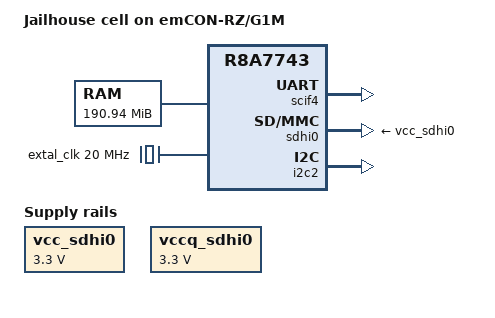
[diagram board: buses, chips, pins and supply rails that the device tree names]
/*
 * Jailhouse, a Linux-based partitioning hypervisor
 *
 * Device tree for Linux inmate test on emCON-RZ/G1M board,
 * corresponds to configs/emtrion-emconrzg1m-linux-demo.c
 *
 * Copyright (c) emtrion GmbH, 2017
 *
 * Authors:
 *  Jan von Wiarda <jan.vonwiarda@emtrion.de>
 *
 * This work is licensed under the terms of the GNU GPL, version 2.  See
 * the COPYING file in the top-level directory.
 */

#include <dt-bindings/interrupt-controller/arm-gic.h>
#include <dt-bindings/clock/r8a7743-clock.h>
#include <dt-bindings/power/r8a7743-sysc.h>

/dts-v1/;

/memreserve/ 0x0000000070000000 0x0000000000002000;
/ {
	model = "Jailhouse cell on emCON-RZ/G1M";
	compatible = "emtrion,emconrzg1m", "renesas,r8a7743";

	#address-cells = <2>;
	#size-cells = <2>;

	interrupt-parent = <&gic>;

	aliases {
		i2c2 = "/i2c@e6530000";
		serial6 = "/serial@e6ee0000";
	};

	cpus {
		#address-cells = <1>;
		#size-cells = <0>;

		cpu@0 {
			enable-method = "psci";
			device_type = "cpu";
			compatible = "arm,cortex-a15";
			reg = <0x0>;
			clock-frequency = <0x59682f00>;
			voltage-tolerance = <0x1>;
			clocks = <0x2 0x8>;
			clock-latency = <0x493e0>;
			power-domains = <0x3 0x0>;
			operating-points = <0x16e360 0xf4240 0x1406f4 0xf4240
					    0x112a88 0xf4240 0xe4e1c 0xf4240
					    0xb71b0 0xf4240 0x5b8d8 0xf4240>;
		};
	};

	memory@70000000 {
		device_type = "memory";
		reg = <0x0 0x70000000 0x0 0x0bef0000>;
	};

	chosen {
		bootargs = "console=ttySC6,115200 root=/dev/sda1 rootwait
			    ip=dhcp loglevel=8 vt.global_cursor_default=0
			    consoleblank=0";
		stdout-path = "/serial@e6ee0000";
	};

	timer {
		compatible = "arm,armv7-timer";
		interrupts = <GIC_PPI 13
				(GIC_CPU_MASK_SIMPLE(4) | IRQ_TYPE_LEVEL_LOW)>,
			     <GIC_PPI 14
				(GIC_CPU_MASK_SIMPLE(4) | IRQ_TYPE_LEVEL_LOW)>,
			     <GIC_PPI 11
				(GIC_CPU_MASK_SIMPLE(4) | IRQ_TYPE_LEVEL_LOW)>,
			     <GIC_PPI 10
				(GIC_CPU_MASK_SIMPLE(4) | IRQ_TYPE_LEVEL_LOW)>;
	};

	clocks {
		#address-cells = <0x2>;
		#size-cells = <0x2>;
		ranges;

		/* External root clock */
		extal_clk: extal_clk {
			compatible = "fixed-clock";
			#clock-cells = <0>;
			clock-frequency = <20000000>;
			clock-output-names = "extal";
		};

		audio_clka {
			compatible = "fixed-clock";
			#clock-cells = <0x0>;
			clock-frequency = <0x0>;
			clock-output-names = "audio_clka";
		};
		audio_clkb {
			compatible = "fixed-clock";
			#clock-cells = <0x0>;
			clock-frequency = <0x0>;
			clock-output-names = "audio_clkb";
		};
		audio_clkc {
			compatible = "fixed-clock";
			#clock-cells = <0x0>;
			clock-frequency = <0x0>;
			clock-output-names = "audio_clkc";
		};

		/* Special CPG clocks */
		cpg_clocks: cpg_clocks@e6150000 {
			compatible = "renesas,r8a7743-cpg-clocks",
				     "renesas,rcar-gen2-cpg-clocks";
			reg = <0 0xe6150000 0 0x1000>;
			clocks = <&extal_clk>;
			#clock-cells = <1>;
			clock-output-names = "main", "pll0", "pll1", "pll3",
					     "lb", "qspi", "sdh", "sd0";
			#power-domain-cells = <0>;
		};

		/* Variable factor clocks */
		sd2_clk: sd2_clk@e6150078 {
			compatible = "renesas,r8a7743-div6-clock",
				     "renesas,cpg-div6-clock";
			reg = <0x0 0xe6150078 0x0 0x4>;
			clocks = <0x3>;
			#clock-cells = <0x0>;
			clock-output-names = "sd2";
		};
		sd3_clk: sd3_clk@e615026c {
			compatible = "renesas,r8a7743-div6-clock",
				     "renesas,cpg-div6-clock";
			reg = <0x0 0xe615026c 0x0 0x4>;
			clocks = <0x3>;
			#clock-cells = <0x0>;
			clock-output-names = "sd3";
		};
		mmc0_clk: mmc0_clk@e6150240 {
			compatible = "renesas,r8a7743-div6-clock",
				     "renesas,cpg-div6-clock";
			reg = <0x0 0xe6150240 0x0 0x4>;
			clocks = <0x3>;
			#clock-cells = <0x0>;
			clock-output-names = "mmc0";
		};

		/* Fixed factor clocks */
		pll1_div2_clk: pll1_div2_clk {
			compatible = "fixed-factor-clock";
			clocks = <&cpg_clocks R8A7743_CLK_PLL1>;
			#clock-cells = <0>;
			clock-div = <2>;
			clock-mult = <1>;
			clock-output-names = "pll1_div2";
		};

		z2: z2 {
			compatible = "fixed-factor-clock";
			clocks = <&cpg_clocks R8A7743_CLK_PLL0>;
			#clock-cells = <0>;
			clock-div = <3>;
			clock-mult = <1>;
			clock-output-names = "z2";
		};

		zg_clk: zg_clk {
			compatible = "fixed-factor-clock";
			clocks = <&cpg_clocks R8A7743_CLK_PLL1>;
			#clock-cells = <0>;
			clock-div = <6>;
			clock-mult = <1>;
			clock-output-names = "zg";
		};

		zx_clk: zx_clk {
			compatible = "fixed-factor-clock";
			clocks = <&cpg_clocks R8A7743_CLK_PLL1>;
			#clock-cells = <0>;
			clock-div = <3>;
			clock-mult = <1>;
			clock-output-names = "zx";
		};

		zs_clk: zs_clk {
			compatible = "fixed-factor-clock";
			clocks = <&cpg_clocks R8A7743_CLK_PLL1>;
			#clock-cells = <0>;
			clock-div = <6>;
			clock-mult = <1>;
			clock-output-names = "zs";
		};

		/* Fixed factor clocks */
		hp_clk: hp_clk {
			compatible = "fixed-factor-clock";
			clocks = <&cpg_clocks R8A7743_CLK_PLL1>;
			#clock-cells = <0>;
			clock-div = <12>;
			clock-mult = <1>;
			clock-output-names = "hp";
		};
		i_clk: i_clk {
			compatible = "fixed-factor-clock";
			clocks = <&cpg_clocks R8A7743_CLK_PLL1>;
			#clock-cells = <0>;
			clock-div = <2>;
			clock-mult = <1>;
			clock-output-names = "i";
		};
		b_clk: b_clk {
			compatible = "fixed-factor-clock";
			clocks = <&cpg_clocks R8A7743_CLK_PLL1>;
			#clock-cells = <0>;
			clock-div = <12>;
			clock-mult = <1>;
			clock-output-names = "b";
		};
		p_clk: p_clk {
			compatible = "fixed-factor-clock";
			clocks = <&cpg_clocks R8A7743_CLK_PLL1>;
			#clock-cells = <0>;
			clock-div = <24>;
			clock-mult = <1>;
			clock-output-names = "p";
		};
		cl_clk: cl_clk {
			compatible = "fixed-factor-clock";
			clocks = <&cpg_clocks R8A7743_CLK_PLL1>;
			#clock-cells = <0>;
			clock-div = <48>;
			clock-mult = <1>;
			clock-output-names = "cl";
		};
		m2_clk: m2_clk {
			compatible = "fixed-factor-clock";
			clocks = <&cpg_clocks R8A7743_CLK_PLL1>;
			#clock-cells = <0>;
			clock-div = <8>;
			clock-mult = <1>;
			clock-output-names = "m2";
		};
		imp_clk: imp_clk {
			compatible = "fixed-factor-clock";
			clocks = <&cpg_clocks R8A7743_CLK_PLL1>;
			#clock-cells = <0>;
			clock-div = <4>;
			clock-mult = <1>;
			clock-output-names = "imp";
		};
		rclk_clk: rclk_clk {
			compatible = "fixed-factor-clock";
			clocks = <&cpg_clocks R8A7743_CLK_PLL1>;
			#clock-cells = <0>;
			clock-div = <(48 * 1024)>;
			clock-mult = <1>;
			clock-output-names = "rclk";
		};
		oscclk_clk: oscclk_clk {
			compatible = "fixed-factor-clock";
			clocks = <&cpg_clocks R8A7743_CLK_PLL1>;
			#clock-cells = <0>;
			clock-div = <(12 * 1024)>;
			clock-mult = <1>;
			clock-output-names = "oscclk";
		};
		zb3_clk: zb3_clk {
			compatible = "fixed-factor-clock";
			clocks = <&cpg_clocks R8A7743_CLK_PLL1>;
			#clock-cells = <0>;
			clock-div = <4>;
			clock-mult = <1>;
			clock-output-names = "zb3";
		};
		zb3d2_clk: zb3d2_clk {
			compatible = "fixed-factor-clock";
			clocks = <&cpg_clocks R8A7743_CLK_PLL1>;
			#clock-cells = <0>;
			clock-div = <8>;
			clock-mult = <1>;
			clock-output-names = "zb3d2";
		};
		ddr_clk: ddr_clk {
			compatible = "fixed-factor-clock";
			clocks = <&cpg_clocks R8A7743_CLK_PLL1>;
			#clock-cells = <0>;
			clock-div = <8>;
			clock-mult = <1>;
			clock-output-names = "ddr";
		};
		mp_clk: mp_clk {
			compatible = "fixed-factor-clock";
			clocks = <&pll1_div2_clk>;
			#clock-cells = <0>;
			clock-div = <15>;
			clock-mult = <1>;
			clock-output-names = "mp";
		};
		cp_clk: cp_clk {
			compatible = "fixed-factor-clock";
			clocks = <&cpg_clocks R8A7743_CLK_PLL1>;
			#clock-cells = <0>;
			clock-div = <48>;
			clock-mult = <1>;
			clock-output-names = "cp";
		};
		acp_clk: acp_clk {
			compatible = "fixed-factor-clock";
			clocks = <&extal_clk>;
			#clock-cells = <0>;
			clock-div = <2>;
			clock-mult = <1>;
			clock-output-names = "acp";
		};

		/* Gate clocks */
		mstp3_clks: mstp3_clks@e615013c {
			compatible = "renesas,r8a7743-mstp-clocks",
				     "renesas,cpg-mstp-clocks";
			reg = <0 0xe615013c 0 4>, <0 0xe6150048 0 4>;
			clocks = <&cpg_clocks R8A7743_CLK_SD0>;
			#clock-cells = <1>;
			clock-indices = <R8A7743_CLK_SDHI0>;
			clock-output-names = "sdhi0";
		};

		mstp7_clks: mstp7_clks@e615014c {
			compatible = "renesas,r8a7743-mstp-clocks",
				     "renesas,cpg-mstp-clocks";
			reg = <0 0xe615014c 0 4>, <0 0xe61501c4 0 4>;
			clocks = <&p_clk>;
			#clock-cells = <1>;
			clock-indices = <R8A7743_CLK_SCIF4>;
			clock-output-names = "scif4";
		};

		mstp9_clks: mstp9_clks@e6150994 {
			compatible = "renesas,r8a7743-mstp-clocks",
				     "renesas,cpg-mstp-clocks";
			reg = <0 0xe6150994 0 4>, <0 0xe61509a4 0 4>;
			clocks = <&hp_clk>;
			#clock-cells = <1>;
			clock-indices = <R8A7743_CLK_I2C2>;
			clock-output-names = "i2c2";
		};
	};

	vcc_sdhi0: regulator@0 {
		compatible = "regulator-fixed";

		regulator-name = "SDHI0 Vcc";
		regulator-min-microvolt = <3300000>;
		regulator-max-microvolt = <3300000>;

		regulator-boot-on;
		regulator-always-on;

	};

	vccq_sdhi0: regulator@1 {
		compatible = "regulator-fixed";

		regulator-name = "SDHI0 VccQ";
		regulator-min-microvolt = <3300000>;
		regulator-max-microvolt = <3300000>;

		regulator-boot-on;
		regulator-always-on;
	};

	gic: interrupt-controller@f1001000 {
		compatible = "arm,cortex-a7-gic", "arm,cortex-a15-gic";
		reg = <0x0 0xf1001000 0x0 0x1000>,
		      <0x0 0xf1002000 0x0 0x1000>;
		interrupt-controller;
		#interrupt-cells = <3>;
	};

	sysc: system-controller@e6180000 {
		compatible = "renesas,r8a7743-sysc";
		reg = <0 0xe6180000 0 0x0200>;
		#power-domain-cells = <1>;
	};

	pfc: pin-controller@e6060000 {
		compatible = "renesas,pfc-r8a7743";
		reg = <0x0 0xe6060000 0x0 0x11c>;
		#gpio-range-cells = <0x3>;
		linux,phandle = <0x7>;
		phandle = <0x7>;

		serial6 {
			renesas,groups = "scif4_data_c";
			renesas,function = "scif4";
			linux,phandle = <0x12>;
			phandle = <0x12>;
		};

		sdhi0_pins: sd0 {
			renesas,groups = "sdhi0_data4", "sdhi0_ctrl",
					 "sdhi0_cd", "sdhi0_wp";
			renesas,function = "sdhi0";
		};
	};

	scif4: serial@e6ee0000 {
		compatible = "renesas,scif-r8a7743", "renesas,scif";
		reg = <0 0xe6ee0000 0 0x40>;
		interrupts = <0 24 IRQ_TYPE_LEVEL_HIGH>;
		clocks = <&mstp7_clks R8A7743_CLK_SCIF4>;
		clock-names = "sci_ick";
		power-domains = <&sysc R8A7743_PD_ALWAYS_ON>;
		status = "okay";
		pinctrl-0 = <0x12>;
		pinctrl-names = "default";
	};

	sdhi0: sd@ee100000 {
		compatible = "renesas,sdhi-r8a7743";
		reg = <0 0xee100000 0 0x200>;
		interrupts = <0 165 IRQ_TYPE_LEVEL_HIGH>;
		clocks = <&mstp3_clks R8A7743_CLK_SDHI0>;
		power-domains = <&sysc R8A7743_PD_ALWAYS_ON>;
		status = "okay";
		vmmc-supply = <&vcc_sdhi0>;
		vqmmc-supply = <&vccq_sdhi0>;
	};

	i2c2: i2c@e6530000 {
		compatible = "renesas,i2c-r8a7743";
		reg = <0 0xe6530000 0 0x40>;
		interrupts = <0 286 IRQ_TYPE_LEVEL_HIGH>;
		clocks = <&mstp9_clks R8A7743_CLK_I2C2>;
		power-domains = <&sysc R8A7743_PD_ALWAYS_ON>;
		#address-cells = <1>;
		#size-cells = <0>;
		status = "okay";
	};
};
